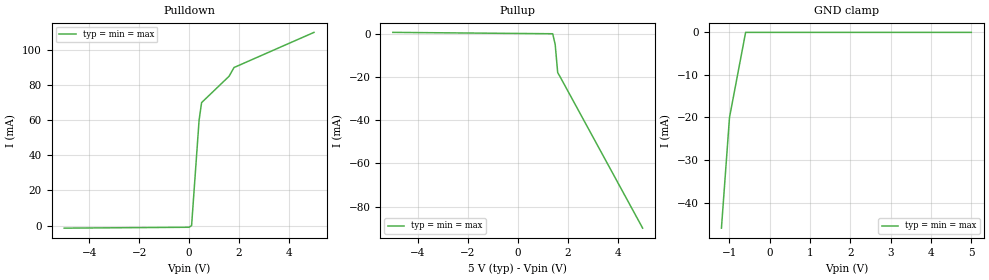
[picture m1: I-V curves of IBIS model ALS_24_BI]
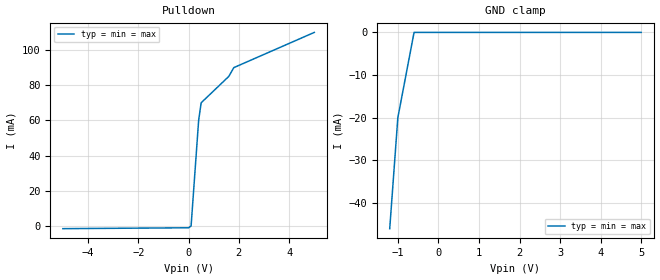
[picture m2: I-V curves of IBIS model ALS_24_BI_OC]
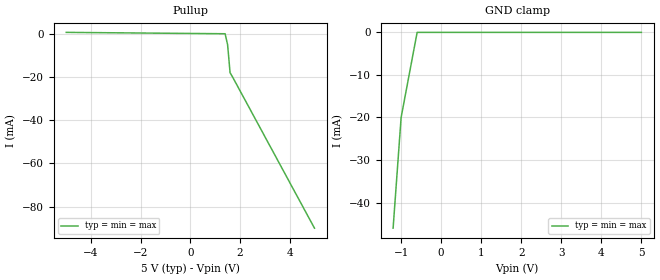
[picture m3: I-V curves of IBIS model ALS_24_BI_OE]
[Ibis Ver]	3.2
[File Name]	tech_als_24.ibs
[File Rev]	0.5
[Date]	Sun Jan  5 18:26:15 2020
[Notes]	This file is automatically generated and may not fully comply
   with some of the name length and numerical size restrictions in the
   IBIS Specification.  These length and size violations can be
   detected with the IBIS Open Forum ibischk3 utility, and the
   violations may need to be corrected before the file can be
   used outide of the ICX environment.
[Component]	tech_als_24
[Manufacturer] 	Mentor Graphics ICX-Pro
[Package]
|		typ		min		max
R_pkg		0.0		0.0		0.0
L_pkg		5.000000nH		2.000000nH		10.000000nH
C_pkg		1.300000pF		0.800000pF		1.800000pF
[Pin]	signal_name	model_name	R_pin	L_pin	C_pin
i	Input		ALS_24_IN
o	Output		ALS_24_OUT
tri	Tri-state		ALS_24_TRI
oc	Open-collector		ALS_24_OC
oe	Open-emitter		ALS_24_OE
bi	Bidirectional		ALS_24_BI
bi_oc	Bi_Open_Coll		ALS_24_BI_OC
bi_oe	Bi_Open_Emit		ALS_24_BI_OE
| Models and submodels in the file (8): ALS_24_BI (I/O), ALS_24_BI_OC (I/O_open_drain), ALS_24_BI_OE (I/O_open_source), ALS_24_IN (Input), ALS_24_OC (Open_drain), ALS_24_OE (Open_source), ALS_24_OUT (Output), ALS_24_TRI (3-state)
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[Model]		ALS_24_BI
Model_type	I/O
Polarity	Non-Inverting
Enable		Active-High
Vmeas = 1.300000V
Cref = 50.000000pF
Vref = 0.0V
Rref = 0.500000k
Vinl = 0.800000V
Vinh = 2.000000V
|		typ		min		max
C_comp		5.000000pF		2.000000pF		8.000000pF
|			typ		min		max
[voltage range]	5.000000V		4.500000V		5.500000V
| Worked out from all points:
|   slope of the pulldown table from 0 to 0.75 V, typ, clamps not added: 10.1 ohm
|   slope of the pullup table from 0 to 0.75 V, typ, clamps not added: 10 kohm
|   GND clamp passes 1 mA (typ) near -0.62 V on its own axis
[Pulldown]
|	Voltage		I(typ)		I(min)		I(max)
-5V       -1.5mA     -1.5mA     -1.5mA
0V        -1mA       -1mA       -1mA
100mV     0A         0A         0A
400mV     60mA       60mA       60mA
500mV     70mA       70mA       70mA
1.6V      85mA       85mA       85mA
1.8V      90mA       90mA       90mA
5V        110mA      110mA      110mA
[Pullup]
|	Voltage		I(typ)		I(min)		I(max)
-5V       640uA      640uA      640uA
1.4V      0A         0A         0A
1.5V      -5mA       -5mA       -5mA
1.6V      -18mA      -18mA      -18mA
1.7V      -20mA      -20mA      -20mA
5V        -90mA      -90mA      -90mA
[Gnd Clamp]
|	Voltage		I(typ)		I(min)		I(max)
-1.2V     -46mA      -46mA      -46mA
-1V       -20mA      -20mA      -20mA
-700mV    -5mA       -5mA       -5mA
-600mV    0A         0A         0A
0V        0A         0A         0A
5V        0A         0A         0A
[Ramp]
|  variable	typ		min		max
dV/dt_r		1.15/1.200000ns	0.91/1.500000ns	1/1.000000ns
dV/dt_f		2.2/1.200000ns	1.42/1.500000ns	1/1.000000ns
R_load = 	50Ohms
[Model]		ALS_24_BI_OC
Model_type	I/O_open_drain
Polarity	Non-Inverting
Enable		Active-High
Vmeas = 1.300000V
Cref = 50.000000pF
Vref = 3.500000V
Rref = 0.250000k
Vinl = 0.800000V
Vinh = 2.000000V
|		typ		min		max
C_comp		5.000000pF		2.000000pF		8.000000pF
|			typ		min		max
[voltage range]	5.000000V		4.500000V		5.500000V
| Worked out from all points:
|   slope of the pulldown table from 0 to 0.75 V, typ, clamps not added: 10.1 ohm
|   GND clamp passes 1 mA (typ) near -0.62 V on its own axis
[Pulldown]
|	Voltage		I(typ)		I(min)		I(max)
-5V       -1.5mA     -1.5mA     -1.5mA
0V        -1mA       -1mA       -1mA
100mV     0A         0A         0A
400mV     60mA       60mA       60mA
500mV     70mA       70mA       70mA
1.6V      85mA       85mA       85mA
1.8V      90mA       90mA       90mA
5V        110mA      110mA      110mA
[Gnd Clamp]
|	Voltage		I(typ)		I(min)		I(max)
-1.2V     -46mA      -46mA      -46mA
-1V       -20mA      -20mA      -20mA
-700mV    -5mA       -5mA       -5mA
-600mV    0A         0A         0A
0V        0A         0A         0A
5V        0A         0A         0A
[Ramp]
|  variable	typ		min		max
dV/dt_r		1.15/1.200000ns	0.91/1.500000ns	1/1.000000ns
dV/dt_f		2.2/1.200000ns	1.42/1.500000ns	1/1.000000ns
R_load = 	50Ohms
[Model]		ALS_24_BI_OE
Model_type	I/O_open_source
Polarity	Non-Inverting
Enable		Active-High
Vmeas = 1.300000V
Cref = 50.000000pF
Vref = 0.0V
Rref = 0.250000k
Vinl = 0.800000V
Vinh = 2.000000V
|		typ		min		max
C_comp		5.000000pF		2.000000pF		8.000000pF
|			typ		min		max
[voltage range]	5.000000V		4.500000V		5.500000V
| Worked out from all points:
|   slope of the pullup table from 0 to 0.75 V, typ, clamps not added: 10 kohm
|   GND clamp passes 1 mA (typ) near -0.62 V on its own axis
[Pullup]
|	Voltage		I(typ)		I(min)		I(max)
-5V       640uA      640uA      640uA
1.4V      0A         0A         0A
1.5V      -5mA       -5mA       -5mA
1.6V      -18mA      -18mA      -18mA
1.7V      -20mA      -20mA      -20mA
5V        -90mA      -90mA      -90mA
[Gnd Clamp]
|	Voltage		I(typ)		I(min)		I(max)
-1.2V     -46mA      -46mA      -46mA
-1V       -20mA      -20mA      -20mA
-700mV    -5mA       -5mA       -5mA
-600mV    0A         0A         0A
0V        0A         0A         0A
5V        0A         0A         0A
[Ramp]
|  variable	typ		min		max
dV/dt_r		1.15/1.200000ns	0.91/1.500000ns	1/1.000000ns
dV/dt_f		2.2/1.200000ns	1.42/1.500000ns	1/1.000000ns
R_load = 	50Ohms
